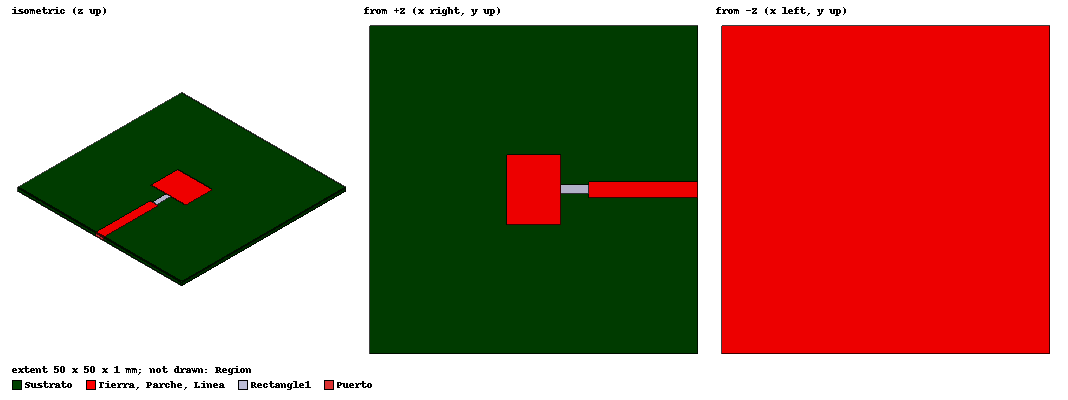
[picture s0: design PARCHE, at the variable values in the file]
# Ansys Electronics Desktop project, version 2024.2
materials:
  Rogers RO3003 (tm): permittivity=3 dielectric_loss_tangent=0.0013
  vacuum: permittivity=1

design PARCHE (HFSS, HFSS Modal Network, model units mm)
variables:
  h = 1mm
  Y_sustrato = 50mm
  X_sustrato = 50mm
  X_parche = 8.2mm
  Y_parche = 10.6mm
  X_linea = X_sustrato/2-X_parche/2
  Ancho_linea = 2.51mm
  X_adaptador = lambda_guiado*0.25+X_parche/2-Ancho_adaptador/2
  Y_adaptador = lambda_guiado*0.26
  lambda_guiado = 19.28mm
  Ancho_adaptador = 0.7mm
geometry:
  Sustrato [Rogers RO3003 (tm)] = box(corner=(-X_sustrato/2, -Y_sustrato/2, 0mm), size=(X_sustrato, Y_sustrato, -h))
  Tierra = rectangle(corner=(-X_sustrato/2, -Y_sustrato/2, -h), x_size=X_sustrato, y_size=Y_sustrato)
  Parche = rectangle(corner=(-X_parche/2, -Y_parche/2, 0), x_size=X_parche, y_size=Y_parche)
  Linea = rectangle(corner=(X_sustrato/2, -Ancho_linea/2, 0mm), x_size=-X_linea+4.25mm, y_size=Ancho_linea)
  Puerto = rectangle(corner=(25mm, -Ancho_linea/2, -h), y_size=Ancho_linea, z_size=h)
  Region [vacuum] = region(absolute_offset: +X=0mm, -X=15mm, +Y=15mm, -Y=15mm, +Z=15mm, -Z=15mm)
  Rectangle1 = rectangle(corner=((8.96-0.61) mm, -0.6275mm, 0mm), x_size=-4.25mm, y_size=1.4mm)
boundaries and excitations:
  Tierra: Perfect E Objects=Tierra
  Linea: Perfect E Objects=Linea
  Parche: Perfect E Objects=Parche
  1: Wave Port Objects=Puerto WavePortType=Modal NumModes=1 Modes{Mode1{CharImp=Zpi}}
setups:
  Setup1: HfssDriven Frequency=10GHz MaxDeltaS=0.02 MaximumPasses=15 MinimumPasses=1 MinimumConvergedPasses=1 PercentRefinement=30 BasisOrder=1 PortAccuracy=2 DrivenSolverType="Direct Solver"
    sweep Sweep: 8GHz to 12GHz step 0.025GHz; Type=Interpolating InterpTolerance=0.5 InterpMaxSolns=250 InterpUsePortImped=false PassivityErrorTolerance=0.0001
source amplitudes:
  1:1: 1W 0deg
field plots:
  Mag_E2: E Field in Region on Setup1 : LastAdaptive at Freq=10GHz Phase=0deg
  Mag_H1: H Field in Region on Setup1 : LastAdaptive at Freq=10GHz Phase=0deg
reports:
  S Parameter Plot 1: dB(S(1,1)) vs Freq on Setup1 : Sweep
  VSWR Plot 1: VSWR(1) vs Freq on Setup1 : Sweep
